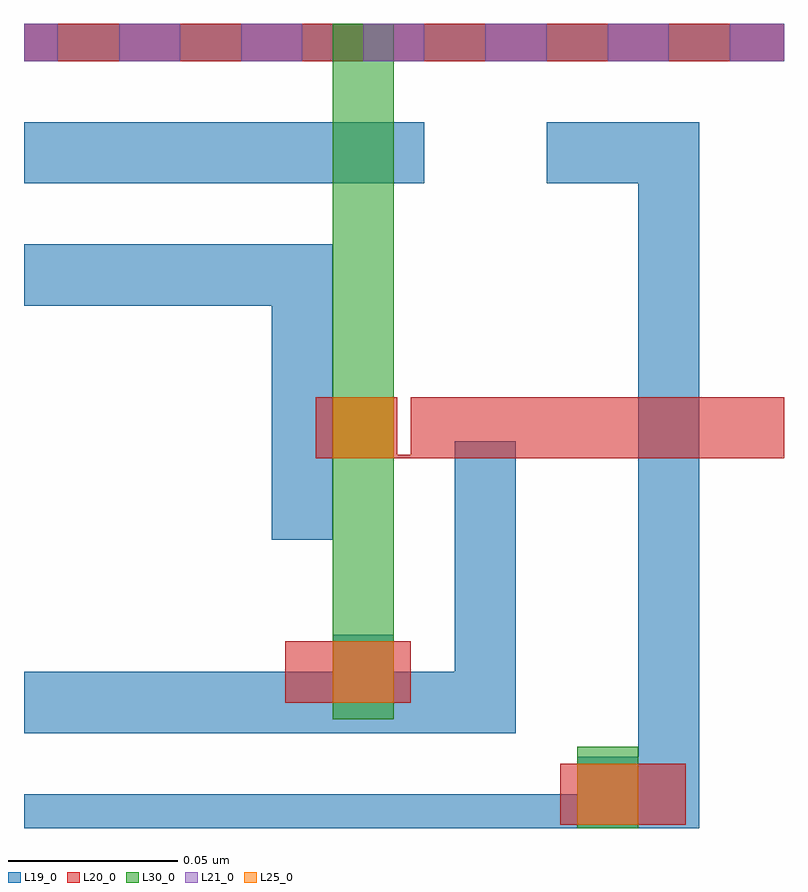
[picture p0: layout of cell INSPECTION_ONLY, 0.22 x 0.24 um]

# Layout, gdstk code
import gdstk
lib = gdstk.Library(unit=1e-6, precision=2.5e-10)
def R(c, l, rs):  # rectangles x0, y0, x1, y1
    for r in rs: c.add(gdstk.rectangle(r[:2], r[2:], *l))
def A(c, l, x, y, w, h, nx, ny, dx, dy):  # array of equal rectangles
    R(c, l, [(x+i*dx, y+j*dy, x+i*dx+w, y+j*dy+h) for i in range(nx) for j in range(ny)])
def P(c, l, *ps):  # polygons
    for p in ps: c.add(gdstk.Polygon(p, *l))
L19_0 = (19, 0)
L20_0 = (20, 0)
L21_0 = (21, 0)
L25_0 = (25, 0)
L30_0 = (30, 0)

inspection_only = lib.new_cell('INSPECTION_ONLY')
R(inspection_only, L19_0, [(5.508,8.945,5.526,8.966), (5.436,8.98,5.454,9.002), (5.345,9.135,5.463,9.153), (5.345,9.171,5.569,9.182), (5.345,9.171,5.569,9.182), (5.345,9.171,5.346,9.182), (5.345,9.171,5.562,9.182), (5.346,9.171,5.569,9.182), (5.562,9.171,5.569,9.182)])
P(inspection_only, L19_0, [(5.418,9.03),(5.418,9.099),(5.345,9.099),(5.345,9.117),(5.436,9.117),(5.436,9.03)],
  [(5.345,8.973),(5.345,8.991),(5.472,8.991),(5.472,9.059),(5.49,9.059),(5.49,8.973)],
  [(5.345,8.945),(5.345,8.955),(5.526,8.955),(5.526,9.135),(5.499,9.135),(5.499,9.153),(5.544,9.153),(5.544,8.945)])
R(inspection_only, L20_0, [(5.503,8.946,5.54,8.964), (5.422,8.982,5.459,9), (5.345,9.171,5.569,9.182)])
P(inspection_only, L20_0, [(5.431,9.054),(5.431,9.072),(5.455,9.072),(5.455,9.055),(5.459,9.055),(5.459,9.072),(5.569,9.072),(5.569,9.054)])
A(inspection_only, L21_0, 5.373, 9.171, 0.018, 0.011, 5, 1, 0.036, 0)
R(inspection_only, L21_0, [(5.508,8.946,5.526,8.964), (5.436,8.982,5.454,9), (5.345,9.171,5.355,9.182), (5.553,9.171,5.569,9.182)])
R(inspection_only, L25_0, [(5.508,8.946,5.526,8.964), (5.436,8.982,5.454,9), (5.436,9.054,5.454,9.072)])
R(inspection_only, L30_0, [(5.508,8.945,5.526,8.969), (5.436,8.977,5.454,9.182)])

lib.write_gds('INSPECTION_ONLY.gds')
